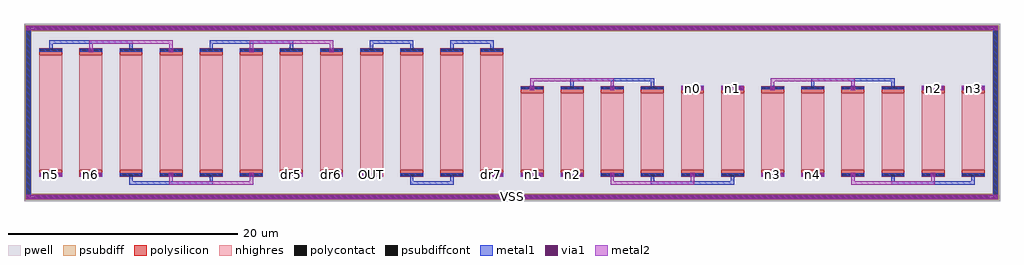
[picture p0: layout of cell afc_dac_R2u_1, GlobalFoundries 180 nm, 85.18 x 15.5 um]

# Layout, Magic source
magic
tech gf180mcuD
magscale 1 10
<< pwell >>
rect -468 -464 16568 2636
<< psubdiff >>
rect -444 -440 16544 -336
rect -444 2508 16544 2612
rect -444 -336 -340 2508
rect 16440 -336 16544 2508
<< polysilicon >>
rect -200 2086 200 2208
rect -200 -36 200 86
rect 1200 2086 1600 2208
rect 1200 -36 1600 86
rect 2600 2086 3000 2208
rect 2600 -36 3000 86
rect 4000 2086 4400 2208
rect 4000 -36 4400 86
rect 500 2086 900 2208
rect 500 -36 900 86
rect 1900 2086 2300 2208
rect 1900 -36 2300 86
rect 3300 2086 3700 2208
rect 3300 -36 3700 86
rect 4700 2086 5100 2208
rect 4700 -36 5100 86
rect 5400 2086 5800 2208
rect 5400 -36 5800 86
rect 6100 2086 6500 2208
rect 6100 -36 6500 86
rect 6800 2086 7200 2208
rect 6800 -36 7200 86
rect 7500 2086 7900 2208
rect 7500 -36 7900 86
rect 8200 1426 8600 1548
rect 8200 -36 8600 86
rect 9600 1426 10000 1548
rect 9600 -36 10000 86
rect 11000 1426 11400 1548
rect 11000 -36 11400 86
rect 8900 1426 9300 1548
rect 8900 -36 9300 86
rect 10300 1426 10700 1548
rect 10300 -36 10700 86
rect 11700 1426 12100 1548
rect 11700 -36 12100 86
rect 12400 1426 12800 1548
rect 12400 -36 12800 86
rect 13800 1426 14200 1548
rect 13800 -36 14200 86
rect 15200 1426 15600 1548
rect 15200 -36 15600 86
rect 13100 1426 13500 1548
rect 13100 -36 13500 86
rect 14500 1426 14900 1548
rect 14500 -36 14900 86
rect 15900 1426 16300 1548
rect 15900 -36 16300 86
<< nhighres >>
rect -200 86 200 2086
rect 1200 86 1600 2086
rect 2600 86 3000 2086
rect 4000 86 4400 2086
rect 500 86 900 2086
rect 1900 86 2300 2086
rect 3300 86 3700 2086
rect 4700 86 5100 2086
rect 5400 86 5800 2086
rect 6100 86 6500 2086
rect 6800 86 7200 2086
rect 7500 86 7900 2086
rect 8200 86 8600 1426
rect 9600 86 10000 1426
rect 11000 86 11400 1426
rect 8900 86 9300 1426
rect 10300 86 10700 1426
rect 11700 86 12100 1426
rect 12400 86 12800 1426
rect 13800 86 14200 1426
rect 15200 86 15600 1426
rect 13100 86 13500 1426
rect 14500 86 14900 1426
rect 15900 86 16300 1426
<< psubdiffcont >>
rect -431 -416 -353 2588
rect 16453 -416 16531 2588
rect -293 2521 16393 2599
rect -293 -427 16393 -349
<< polycontact >>
rect -187 2149 187 2195
rect -187 -23 187 23
rect 1213 2149 1587 2195
rect 1213 -23 1587 23
rect 2613 2149 2987 2195
rect 2613 -23 2987 23
rect 4013 2149 4387 2195
rect 4013 -23 4387 23
rect 513 2149 887 2195
rect 513 -23 887 23
rect 1913 2149 2287 2195
rect 1913 -23 2287 23
rect 3313 2149 3687 2195
rect 3313 -23 3687 23
rect 4713 2149 5087 2195
rect 4713 -23 5087 23
rect 5413 2149 5787 2195
rect 5413 -23 5787 23
rect 6113 2149 6487 2195
rect 6113 -23 6487 23
rect 6813 2149 7187 2195
rect 6813 -23 7187 23
rect 7513 2149 7887 2195
rect 7513 -23 7887 23
rect 8213 1489 8587 1535
rect 8213 -23 8587 23
rect 9613 1489 9987 1535
rect 9613 -23 9987 23
rect 11013 1489 11387 1535
rect 11013 -23 11387 23
rect 8913 1489 9287 1535
rect 8913 -23 9287 23
rect 10313 1489 10687 1535
rect 10313 -23 10687 23
rect 11713 1489 12087 1535
rect 11713 -23 12087 23
rect 12413 1489 12787 1535
rect 12413 -23 12787 23
rect 13813 1489 14187 1535
rect 13813 -23 14187 23
rect 15213 1489 15587 1535
rect 15213 -23 15587 23
rect 13113 1489 13487 1535
rect 13113 -23 13487 23
rect 14513 1489 14887 1535
rect 14513 -23 14887 23
rect 15913 1489 16287 1535
rect 15913 -23 16287 23
<< metal1 >>
rect -198 2149 198 2195
rect -198 -23 198 23
rect 1202 2149 1598 2195
rect 1202 -23 1598 23
rect 2602 2149 2998 2195
rect 2602 -23 2998 23
rect 4002 2149 4398 2195
rect 4002 -23 4398 23
rect 502 2149 898 2195
rect 502 -23 898 23
rect 1902 2149 2298 2195
rect 1902 -23 2298 23
rect 3302 2149 3698 2195
rect 3302 -23 3698 23
rect 4702 2149 5098 2195
rect 4702 -23 5098 23
rect 5402 2149 5798 2195
rect 5402 -23 5798 23
rect 6102 2149 6498 2195
rect 6102 -23 6498 23
rect 6802 2149 7198 2195
rect 6802 -23 7198 23
rect 7502 2149 7898 2195
rect 7502 -23 7898 23
rect 8202 1489 8598 1535
rect 8202 -23 8598 23
rect 9602 1489 9998 1535
rect 9602 -23 9998 23
rect 11002 1489 11398 1535
rect 11002 -23 11398 23
rect 8902 1489 9298 1535
rect 8902 -23 9298 23
rect 10302 1489 10698 1535
rect 10302 -23 10698 23
rect 11702 1489 12098 1535
rect 11702 -23 12098 23
rect 12402 1489 12798 1535
rect 12402 -23 12798 23
rect 13802 1489 14198 1535
rect 13802 -23 14198 23
rect 15202 1489 15598 1535
rect 15202 -23 15598 23
rect 13102 1489 13498 1535
rect 13102 -23 13498 23
rect 14502 1489 14898 1535
rect 14502 -23 14898 23
rect 15902 1489 16298 1535
rect 15902 -23 16298 23
rect -198 -38 198 38
rect -30 2149 30 2348
rect 1370 2149 1430 2348
rect -30 2288 1430 2348
rect 1370 -176 1430 23
rect 2770 -176 2830 23
rect 1370 -176 2830 -116
rect 2770 2149 2830 2348
rect 4170 2149 4230 2348
rect 2770 2288 4230 2348
rect 4002 -38 4398 38
rect 502 -38 898 38
rect 662 2134 738 2210
rect 2062 2134 2138 2210
rect 2062 -38 2138 38
rect 3462 -38 3538 38
rect 3462 2134 3538 2210
rect 4862 2134 4938 2210
rect 4702 -38 5098 38
rect 5402 -38 5798 38
rect 5570 2149 5630 2348
rect 6270 2149 6330 2348
rect 5570 2288 6330 2348
rect 6270 -176 6330 23
rect 6970 -176 7030 23
rect 6270 -176 7030 -116
rect 6970 2149 7030 2348
rect 7670 2149 7730 2348
rect 6970 2288 7730 2348
rect 7502 -38 7898 38
rect 8202 -38 8598 38
rect 8362 1474 8438 1550
rect 9762 1474 9838 1550
rect 9762 -38 9838 38
rect 11162 -38 11238 38
rect 11002 1474 11398 1550
rect 8902 -38 9298 38
rect 9070 1489 9130 1688
rect 10470 1489 10530 1688
rect 9070 1628 10530 1688
rect 10470 -176 10530 23
rect 11870 -176 11930 23
rect 10470 -176 11930 -116
rect 11702 1474 12098 1550
rect 12402 -38 12798 38
rect 12562 1474 12638 1550
rect 13962 1474 14038 1550
rect 13962 -38 14038 38
rect 15362 -38 15438 38
rect 15202 1474 15598 1550
rect 13102 -38 13498 38
rect 13270 1489 13330 1688
rect 14670 1489 14730 1688
rect 13270 1628 14730 1688
rect 14670 -176 14730 23
rect 16070 -176 16130 23
rect 14670 -176 16130 -116
rect 15902 1474 16298 1550
rect -431 -427 16531 -349
rect -431 2521 16531 2599
rect -431 -427 -353 2599
rect 16453 -427 16531 2599
rect -431 -427 16531 -349
rect -431 2521 16531 2599
<< metal2 >>
rect -198 -38 198 38
rect 4002 -38 4398 38
rect 502 -38 898 38
rect 662 2134 738 2210
rect 670 2172 730 2348
rect 2062 2134 2138 2210
rect 2070 2172 2130 2348
rect 670 2288 2130 2348
rect 2062 -38 2138 38
rect 2070 -176 2130 0
rect 3462 -38 3538 38
rect 3470 -176 3530 0
rect 2070 -176 3530 -116
rect 3462 2134 3538 2210
rect 3470 2172 3530 2348
rect 4862 2134 4938 2210
rect 4870 2172 4930 2348
rect 3470 2288 4930 2348
rect 4702 -38 5098 38
rect 5402 -38 5798 38
rect 7502 -38 7898 38
rect 8202 -38 8598 38
rect 8362 1474 8438 1550
rect 8370 1512 8430 1688
rect 9762 1474 9838 1550
rect 9770 1512 9830 1688
rect 8370 1628 9830 1688
rect 9762 -38 9838 38
rect 9770 -176 9830 0
rect 11162 -38 11238 38
rect 11170 -176 11230 0
rect 9770 -176 11230 -116
rect 11002 1474 11398 1550
rect 8902 -38 9298 38
rect 11702 1474 12098 1550
rect 12402 -38 12798 38
rect 12562 1474 12638 1550
rect 12570 1512 12630 1688
rect 13962 1474 14038 1550
rect 13970 1512 14030 1688
rect 12570 1628 14030 1688
rect 13962 -38 14038 38
rect 13970 -176 14030 0
rect 15362 -38 15438 38
rect 15370 -176 15430 0
rect 13970 -176 15430 -116
rect 15202 1474 15598 1550
rect 13102 -38 13498 38
rect 15902 1474 16298 1550
rect -431 -427 16531 -349
rect -431 2521 16531 2599
<< via1 >>
rect -186 -26 186 26
rect 4014 -26 4386 26
rect 514 -26 886 26
rect 674 2146 726 2198
rect 2074 2146 2126 2198
rect 2074 -26 2126 26
rect 3474 -26 3526 26
rect 3474 2146 3526 2198
rect 4874 2146 4926 2198
rect 4714 -26 5086 26
rect 5414 -26 5786 26
rect 7514 -26 7886 26
rect 8214 -26 8586 26
rect 8374 1486 8426 1538
rect 9774 1486 9826 1538
rect 9774 -26 9826 26
rect 11174 -26 11226 26
rect 11014 1486 11386 1538
rect 8914 -26 9286 26
rect 11714 1486 12086 1538
rect 12414 -26 12786 26
rect 12574 1486 12626 1538
rect 13974 1486 14026 1538
rect 13974 -26 14026 26
rect 15374 -26 15426 26
rect 15214 1486 15586 1538
rect 13114 -26 13486 26
rect 15914 1486 16286 1538
rect -419 -415 16519 -361
rect -419 2533 16519 2587
<< labels >>
flabel metal2 s -198 -38 198 38 0 FreeSans 80 0 0 0 n5
port 1 nsew signal bidirectional
flabel metal2 s 4002 -38 4398 38 0 FreeSans 80 0 0 0 dr5
port 2 nsew signal bidirectional
flabel metal2 s 502 -38 898 38 0 FreeSans 80 0 0 0 n6
port 3 nsew signal bidirectional
flabel metal2 s 4702 -38 5098 38 0 FreeSans 80 0 0 0 dr6
port 4 nsew signal bidirectional
flabel metal2 s 5402 -38 5798 38 0 FreeSans 80 0 0 0 OUT
port 5 nsew signal bidirectional
flabel metal2 s 7502 -38 7898 38 0 FreeSans 80 0 0 0 dr7
port 6 nsew signal bidirectional
flabel metal2 s 8202 -38 8598 38 0 FreeSans 80 0 0 0 n1
port 7 nsew signal bidirectional
flabel metal2 s 11002 1474 11398 1550 0 FreeSans 80 0 0 0 n0
port 8 nsew signal bidirectional
flabel metal2 s 8902 -38 9298 38 0 FreeSans 80 0 0 0 n2
port 9 nsew signal bidirectional
flabel metal2 s 11702 1474 12098 1550 0 FreeSans 80 0 0 0 n1
port 7 nsew signal bidirectional
flabel metal2 s 12402 -38 12798 38 0 FreeSans 80 0 0 0 n3
port 10 nsew signal bidirectional
flabel metal2 s 15202 1474 15598 1550 0 FreeSans 80 0 0 0 n2
port 9 nsew signal bidirectional
flabel metal2 s 13102 -38 13498 38 0 FreeSans 80 0 0 0 n4
port 11 nsew signal bidirectional
flabel metal2 s 15902 1474 16298 1550 0 FreeSans 80 0 0 0 n3
port 10 nsew signal bidirectional
flabel metal2 s -431 -427 16531 -349 0 FreeSans 80 0 0 0 VSS
port 12 nsew signal bidirectional
<< end >>
